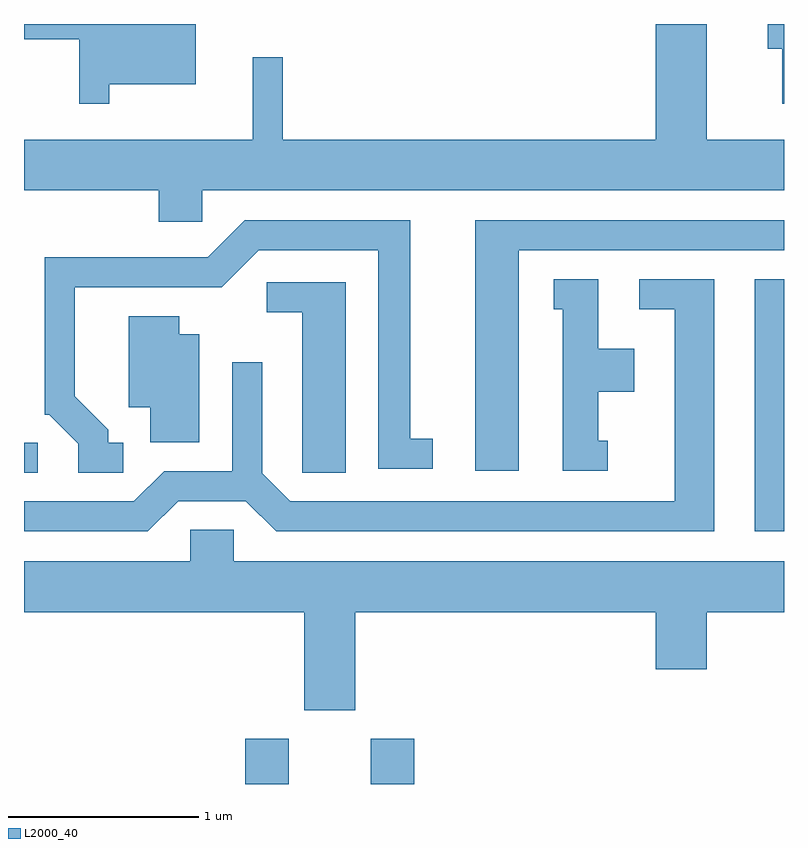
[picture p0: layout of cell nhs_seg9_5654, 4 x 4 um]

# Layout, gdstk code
import gdstk
lib = gdstk.Library(unit=1e-6, precision=1e-09)
def R(c, l, rs):  # rectangles x0, y0, x1, y1
    for r in rs: c.add(gdstk.rectangle(r[:2], r[2:], *l))
def P(c, l, *ps):  # polygons
    for p in ps: c.add(gdstk.Polygon(p, *l))
L2000_40 = (2000, 40)

nhs_seg9_5654 = lib.new_cell('nhs_seg9_5654')
R(nhs_seg9_5654, L2000_40, [(352.776,2026.432,353.004,2026.669), (353.436,2026.432,353.664,2026.669), (355.456,2027.761,355.611,2029.089), (351.611,2028.071,351.683,2028.229)])
P(nhs_seg9_5654, L2000_40, [(352.549,2029.556),(355.611,2029.556),(355.611,2029.824),(355.204,2029.824),(355.204,2030.432),(354.936,2030.432),(354.936,2029.824),(352.974,2029.824),(352.974,2030.258),(352.816,2030.258),(352.816,2029.824),(351.611,2029.824),(351.611,2029.556),(352.321,2029.556),(352.321,2029.391),(352.549,2029.391)],
  [(352.059,2030.116),(352.514,2030.116),(352.514,2030.432),(351.611,2030.432),(351.611,2030.351),(351.901,2030.351),(351.901,2030.013),(352.059,2030.013)],
  [(355.611,2030.432),(355.526,2030.432),(355.526,2030.301),(355.601,2030.301),(355.601,2030.013),(355.611,2030.013)],
  [(352.133,2028.229),(352.054,2028.229),(352.054,2028.297),(351.879,2028.472),(351.879,2029.046),(352.652,2029.046),(352.847,2029.241),(353.476,2029.241),(353.476,2028.091),(353.763,2028.091),(353.763,2028.249),(353.644,2028.249),(353.644,2029.399),(352.774,2029.399),(352.579,2029.204),(351.721,2029.204),(351.721,2028.376),(351.744,2028.376),(351.896,2028.224),(351.896,2028.071),(352.133,2028.071)],
  [(354.214,2029.241),(355.611,2029.241),(355.611,2029.399),(353.986,2029.399),(353.986,2028.081),(354.214,2028.081)],
  [(354.683,2028.239),(354.634,2028.239),(354.634,2028.496),(354.824,2028.496),(354.824,2028.724),(354.634,2028.724),(354.634,2029.089),(354.398,2029.089),(354.398,2028.931),(354.446,2028.931),(354.446,2028.081),(354.683,2028.081)],
  [(352.422,2027.921),(352.779,2027.921),(352.939,2027.761),(355.244,2027.761),(355.244,2029.089),(354.848,2029.089),(354.848,2028.931),(355.036,2028.931),(355.036,2027.919),(353.012,2027.919),(352.864,2028.067),(352.864,2028.653),(352.706,2028.653),(352.706,2028.079),(352.349,2028.079),(352.189,2027.919),(351.611,2027.919),(351.611,2027.761),(352.262,2027.761)],
  [(353.304,2029.074),(352.888,2029.074),(352.888,2028.916),(353.076,2028.916),(353.076,2028.071),(353.304,2028.071)],
  [(352.534,2028.799),(352.429,2028.799),(352.429,2028.894),(352.161,2028.894),(352.161,2028.416),(352.276,2028.416),(352.276,2028.231),(352.534,2028.231)],
  [(353.354,2027.336),(354.936,2027.336),(354.936,2027.036),(355.204,2027.036),(355.204,2027.336),(355.611,2027.336),(355.611,2027.604),(352.714,2027.604),(352.714,2027.769),(352.486,2027.769),(352.486,2027.604),(351.611,2027.604),(351.611,2027.336),(353.086,2027.336),(353.086,2026.821),(353.354,2026.821)])

lib.write_gds('nhs_seg9_5654.gds')
